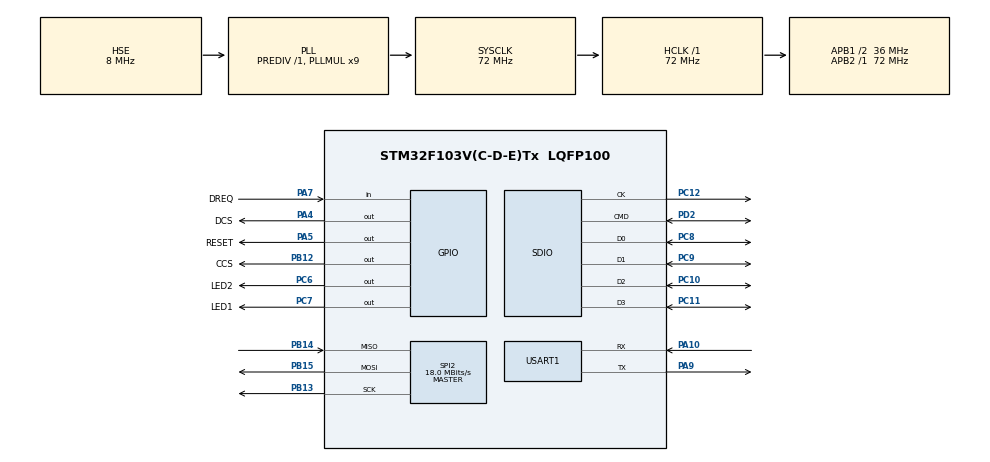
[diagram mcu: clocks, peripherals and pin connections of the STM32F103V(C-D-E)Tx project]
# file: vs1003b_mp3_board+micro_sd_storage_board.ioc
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FATFS._CODE_PAGE=437
FATFS._MAX_SS=4096
FATFS._USE_LFN=2
Mcu.Family=STM32F1
Mcu.Name=STM32F103V(C-D-E)Tx
Mcu.Package=LQFP100
NVIC.PriorityGroup=NVIC_PRIORITYGROUP_4
NVIC.SDIO_IRQn=true\:0\:0\:false\:false\:true\:true
OSC_IN.Mode=HSE-External-Oscillator
OSC_IN.Signal=RCC_OSC_IN
OSC_OUT.Mode=HSE-External-Oscillator
OSC_OUT.Signal=RCC_OSC_OUT
PA10.Mode=Asynchronous
PA10.Signal=USART1_RX
PA4.GPIO_Label=DCS
PA4.GPIO_Speed=GPIO_SPEED_FREQ_HIGH
PA4.Signal=GPIO_Output
PA5.GPIO_Label=RESET
PA5.GPIO_PuPd=GPIO_NOPULL
PA5.GPIO_Speed=GPIO_SPEED_FREQ_HIGH
PA5.PinState=GPIO_PIN_RESET
PA5.Signal=GPIO_Output
PA7.GPIO_Label=DREQ
PA7.Signal=GPIO_Input
PA9.Mode=Asynchronous
PA9.Signal=USART1_TX
PB12.GPIO_Label=CCS
PB12.GPIO_Speed=GPIO_SPEED_FREQ_HIGH
PB12.Signal=GPIO_Output
PB13.Mode=Full_Duplex_Master
PB13.Signal=SPI2_SCK
PB14.Mode=Full_Duplex_Master
PB14.Signal=SPI2_MISO
PB15.Mode=Full_Duplex_Master
PB15.Signal=SPI2_MOSI
PC10.Mode=SD_4_bits_Wide_bus
PC10.Signal=SDIO_D2
PC11.Mode=SD_4_bits_Wide_bus
PC11.Signal=SDIO_D3
PC12.Mode=SD_4_bits_Wide_bus
PC12.Signal=SDIO_CK
PC6.GPIO_Label=LED2
PC6.Signal=GPIO_Output
PC7.GPIO_Label=LED1
PC7.Signal=GPIO_Output
PC8.Mode=SD_4_bits_Wide_bus
PC8.Signal=SDIO_D0
PC9.Mode=SD_4_bits_Wide_bus
PC9.Signal=SDIO_D1
PD2.Mode=SD_4_bits_Wide_bus
PD2.Signal=SDIO_CMD
ProjectManager.HeapSize=0x200
ProjectManager.StackSize=0x400
ProjectManager.TargetToolchain=MDK-ARM V5
RCC.AHBFreq_Value=72000000
RCC.APB1CLKDivider=RCC_HCLK_DIV2
RCC.APB1Freq_Value=36000000
RCC.APB1TimFreq_Value=72000000
RCC.APB2Freq_Value=72000000
RCC.APB2TimFreq_Value=72000000
RCC.HCLKFreq_Value=72000000
RCC.PLLMUL=RCC_PLL_MUL9
RCC.PLLSourceVirtual=RCC_PLLSOURCE_HSE
RCC.SYSCLKFreq_VALUE=72000000
RCC.SYSCLKSource=RCC_SYSCLKSOURCE_PLLCLK
RCC.USBFreq_Value=72000000
SDIO.ClockDiv=2
SPI2.BaudRatePrescaler=SPI_BAUDRATEPRESCALER_2
SPI2.CLKPhase=SPI_PHASE_2EDGE
SPI2.CLKPolarity=SPI_POLARITY_HIGH
SPI2.CRCCalculation=SPI_CRCCALCULATION_DISABLE
SPI2.CalculateBaudRate=18.0 MBits/s
SPI2.Direction=SPI_DIRECTION_2LINES
SPI2.Mode=SPI_MODE_MASTER
SPI2.VirtualType=VM_MASTER
USART1.VirtualMode=VM_ASYNC
VP_FATFS_VS_SDIO.Mode=SDIO
VP_SYS_VS_ND.Mode=No_Debug
board=custom

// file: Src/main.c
/**
  ******************************************************************************
  * @file           : main.c
  * @brief          : Main program body
  ******************************************************************************
  * This notice applies to any and all portions of this file
  * that are not between comment pairs USER CODE BEGIN and
  * USER CODE END. Other portions of this file, whether
  * inserted by the user or by software development tools
  * are owned by their respective copyright owners.
  *
  * Copyright (c) 2018 STMicroelectronics International N.V.
  * All rights reserved.
  *
  * Redistribution and use in source and binary forms, with or without
  * modification, are permitted, provided that the following conditions are met:
  *
  * 1. Redistribution of source code must retain the above copyright notice,
  *    this list of conditions and the following disclaimer.
  * 2. Redistributions in binary form must reproduce the above copyright notice,
  *    this list of conditions and the following disclaimer in the documentation
  *    and/or other materials provided with the distribution.
  * 3. Neither the name of STMicroelectronics nor the names of other
  *    contributors to this software may be used to endorse or promote products
  *    derived from this software without specific written permission.
  * 4. This software, including modifications and/or derivative works of this
  *    software, must execute solely and exclusively on microcontroller or
  *    microprocessor devices manufactured by or for STMicroelectronics.
  * 5. Redistribution and use of this software other than as permitted under
  *    this license is void and will automatically terminate your rights under
  *    this license.
  *
  * THIS SOFTWARE IS PROVIDED BY STMICROELECTRONICS AND CONTRIBUTORS "AS IS"
  * AND ANY EXPRESS, IMPLIED OR STATUTORY WARRANTIES, INCLUDING, BUT NOT
  * LIMITED TO, THE IMPLIED WARRANTIES OF MERCHANTABILITY, FITNESS FOR A
  * PARTICULAR PURPOSE AND NON-INFRINGEMENT OF THIRD PARTY INTELLECTUAL PROPERTY
  * RIGHTS ARE DISCLAIMED TO THE FULLEST EXTENT PERMITTED BY LAW. IN NO EVENT
  * SHALL STMICROELECTRONICS OR CONTRIBUTORS BE LIABLE FOR ANY DIRECT, INDIRECT,
  * INCIDENTAL, SPECIAL, EXEMPLARY, OR CONSEQUENTIAL DAMAGES (INCLUDING, BUT NOT
  * LIMITED TO, PROCUREMENT OF SUBSTITUTE GOODS OR SERVICES; LOSS OF USE, DATA,
  * OR PROFITS; OR BUSINESS INTERRUPTION) HOWEVER CAUSED AND ON ANY THEORY OF
  * LIABILITY, WHETHER IN CONTRACT, STRICT LIABILITY, OR TORT (INCLUDING
  * NEGLIGENCE OR OTHERWISE) ARISING IN ANY WAY OUT OF THE USE OF THIS SOFTWARE,
  * EVEN IF ADVISED OF THE POSSIBILITY OF SUCH DAMAGE.
  *
  ******************************************************************************
  */
#include "main.h"
#include "stm32f1xx_hal.h"
#include "fatfs.h"
#include "sdio.h"
#include "spi.h"
#include "usart.h"
#include "gpio.h"

/* USER CODE BEGIN Includes */
#include <string.h>
#include <stdlib.h>

#include "vs1003.h"
#include "player.h"
/* USER CODE END Includes */

/* USER CODE BEGIN PV */
/* Private variables ---------------------------------------------------------*/
FATFS SDFatFs;  /* File system object for SD card logical drive */
FIL MyFile;     /* File object */
extern char SDPath[4]; /* SD card logical drive path */

#define GPIO_TEST 0
#define LINE_OUT_TEST 0
#define LINE_IN_TEST 0
#define MIC_IN_TEST 1

/* USER CODE END PV */

void SystemClock_Config(void);

/* USER CODE BEGIN PFP */
/* Private function prototypes -----------------------------------------------*/

/* USER CODE END PFP */

/* USER CODE BEGIN 0 */

FRESULT mountSDIO(void)
{
	return f_mount(&SDFatFs, (TCHAR const*)SDPath, 0);
}

FRESULT unMountSDIO(void)
{
	return f_mount(NULL, "", 0);
}

uint8_t linkFATFS(void)
{
	return FATFS_LinkDriver(&SD_Driver, SDPath);
}

uint8_t unLinkFATFS(void)
{
	return FATFS_UnLinkDriver(SDPath);
}

void FatFsTest(void)
{
  FRESULT res;                                          /* FatFs function common result code */
  uint32_t byteswritten, bytesread;                     /* File write/read counts */
	uint8_t wtext[] = "This is STM32 working with FatFs"; /* File write buffer */
  uint8_t rtext[100];                     /* File read buffers */
	char filename[] = "STM32cube.txt";

	printf("\r\n ****** FatFs Example ******\r\n\r\n");

  /*##-1- Link the micro SD disk I/O driver ##################################*/
  if(1)//(linkFATFS() == 0)
  {
    /*##-2- Register the file system object to the FatFs module ##############*/
		//printf(" f_mount \r\n");
    if(0)//((res = mountSDIO()) != FR_OK)
    {
      /* FatFs Initialization Error */
			printf(" mount error : %d \r\n",res);
      Error_Handler();
    }
    else
    {
      /*##-3- Create a FAT file system (format) on the logical drive #########*/
      /* WARNING: Formatting the uSD card will delete all content on the device */
			printf(" f_mkfs skip\r\n");
      if(0)//((res = f_mkfs((TCHAR const*)SDPath, 0, 0)) != FR_OK)
      {
        /* FatFs Format Error */
				printf(" mkfs error : %d \r\n",res);
        Error_Handler();
      }
      else
      {
        /*##-4- Create and Open a new text file object with write access #####*/
				printf(" f_open \r\n");
        if((res = f_open(&MyFile, filename, FA_CREATE_ALWAYS | FA_WRITE)) != FR_OK)
        {
          /* 'STM32.TXT' file Open for write Error */
					printf(" open error : %d \r\n",res);
          Error_Handler();
        }
        else
        {
          /*##-5- Write data to the text file ################################*/
					printf(" f_write \r\n");
          if ((res = f_write(&MyFile, wtext, sizeof(wtext), (void *)&byteswritten)) != FR_OK)
					{
						printf(" write error : %d \r\n",res);
						Error_Handler();
					}

          /*##-6- Close the open text file #################################*/
					printf(" f_close \r\n");
          if ((res = f_close(&MyFile)) != FR_OK )
          {
						printf(" close error : %d \r\n",res);
            Error_Handler();
          }

          if(byteswritten == 0)
          {
            /* 'STM32.TXT' file Write or EOF Error */
						printf(" byteswritten = 0 \r\n");
            Error_Handler();
          }
          else
          {
            /*##-7- Open the text file object with read access ###############*/
						printf(" f_open \r\n");
            if((res = f_open(&MyFile, filename, FA_READ)) != FR_OK)
            {
              /* 'STM32.TXT' file Open for read Error */
							printf(" open error : %d \r\n", res);
              Error_Handler();
            }
            else
            {
              /*##-8- Read data from the text file ###########################*/
							printf(" f_read \r\n");
              res = f_read(&MyFile, rtext, sizeof(rtext), (UINT*)&bytesread);

              if((bytesread == 0) || (res != FR_OK))
              {
                /* 'STM32.TXT' file Read or EOF Error */
								printf(" read error : %d \r\n", res);
                Error_Handler();
              }
              else
              {
                /*##-9- Close the open text file #############################*/
								printf(" f_close \r\n");
								if ((res = f_close(&MyFile)) != FR_OK )
								{
									printf(" close error : %d \r\n",res);
									Error_Handler();
								}

                /*##-10- Compare read data with the expected data ############*/
                if((bytesread != byteswritten))
                {
                  /* Read data is different from the expected data */
									printf(" read data wrong : ? \r\n");
                  Error_Handler();
                }
                else
                {
                  /* Success of the demo: no error occurrence */
                  printf(" Good!!! \r\n");
									HAL_GPIO_WritePin(GPIOC, GPIO_PIN_7, GPIO_PIN_RESET);
									HAL_Delay(500);
									HAL_GPIO_WritePin(GPIOC, GPIO_PIN_7, GPIO_PIN_SET);
                }
              }
            }
          }
        }
      }
    }
  }

	//printf(" unmount \r\n");
	if(0)//((res = unMountSDIO()) != FR_OK )
	{
		printf(" unmount error : %d \r\n",res);
		Error_Handler();
	}

  /*##-11- Unlink the RAM disk I/O driver ####################################*/
  //unLinkFATFS();
}

uint32_t gFileTotalCount = 0;
uint32_t gFileTotalSize = 0;
typedef struct tagFileLinkedList
{
	char fullFileName[128];	// dir + file
	char fileName[128];
	uint32_t fileSize;
	uint8_t isAudio;
} FileLinkedList;

FileLinkedList gFileList[128] = {0, };

void sort_files()
{
	int i, j;
	//FileLinkedList tmp = {0,};
	char tmpFullFileName[128];	// dir + file
	char tmpFileName[128];
	uint32_t tmpFileSize;
	uint8_t tmpIsAudio;

	for(i=0; i<gFileTotalCount-1; i++)
  {
		for (j=i+1; j<gFileTotalCount; j++)
		{
			if (strcmp(gFileList[i].fileName, gFileList[j].fileName) > 0)
			{
				//memcpy((void *)&tmp, (const void*)&gFileList[i], sizeof(FileLinkedList));
				//memcpy((void *)&gFileList[i], (const void*)&gFileList[j], sizeof(FileLinkedList));
				//memcpy((void *)&gFileList[j], (const void*)&tmp, sizeof(FileLinkedList));

				strcpy((char *)&tmpFullFileName, (const char*)&gFileList[i].fullFileName);
				strcpy((char *)&gFileList[i].fullFileName, (const char*)&gFileList[j].fullFileName);
				strcpy((char *)&gFileList[j].fullFileName, (const char*)&tmpFullFileName);

				strcpy((char *)&tmpFileName, (const char*)&gFileList[i].fileName);
				strcpy((char *)&gFileList[i].fileName, (const char*)&gFileList[j].fileName);
				strcpy((char *)&gFileList[j].fileName, (const char*)&tmpFileName);

				tmpFileSize = gFileList[i].fileSize;
				gFileList[i].fileSize = gFileList[j].fileSize;
				gFileList[j].fileSize = tmpFileSize;

				tmpIsAudio = gFileList[i].isAudio;
				gFileList[i].isAudio = gFileList[j].isAudio;
				gFileList[j].isAudio = tmpIsAudio;
			}
		}
  }

	printf("\r\n Start Check Array\r\n");
	for(i=0; i<gFileTotalCount; i++)
	{
		printf(" [%d] file: %s[%d byte][%d]\r\n", i, gFileList[i].fileName, gFileList[i].fileSize, gFileList[i].isAudio);
	}
	printf(" totalSize: %d\r\n", gFileTotalSize);
	printf(" End Check Array\r\n\r\n");
}

FRESULT print_files (char* path)
{
	FRESULT res;
	FILINFO fno;
	DIR dir;
	int i;
	char *fn;
#if _USE_LFN
	static char lfn[_MAX_LFN+1];
	fno.lfname = lfn;
	fno.lfsize = sizeof(lfn);
#endif

	res = f_opendir(&dir, path);
	if (res == FR_OK) {

		for (;;) {
			res = f_readdir(&dir, &fno);
			if (res != FR_OK || fno.fname[0] == 0)
				break;
#if _USE_LFN
			fn = *fno.lfname ? fno.lfname : fno.fname;
#else
			fn = fno.fname;
#endif
			if (fno.fattrib & AM_DIR)
			{
				char dirname[_MAX_LFN+1];

				if(fn[0]!='.')
				{
					i = strlen(path);

					//printf(" dir:  [%s/%s][attr:0x%x]\r\n", path, fn, fno.fattrib);

					sprintf(dirname, "%s/%s", path, fn);
					res = print_files(dirname);
					if (res != FR_OK)
						break;

					path[i] = 0;
				}
			}
			else
			{
				sprintf(gFileList[gFileTotalCount].fullFileName, "%s/%s", path, fn);
				strcpy(gFileList[gFileTotalCount].fileName, fn);
				gFileList[gFileTotalCount].fileSize = fno.fsize;
				gFileTotalSize += fno.fsize;

				char seps[] = ".";
				char *tr;
				tr = strtok((char *)fn, (const char *)seps);
				//printf("  %s ", tr);
				tr = strtok(NULL, (const char *)seps);
				//printf("%s ", tr);
				if (strcmp(tr, "mp3") == 0)
				{
					gFileList[gFileTotalCount].isAudio = 1;
				}
				else
				{
					gFileList[gFileTotalCount].isAudio = 0;
				}

				/*printf(" file: [%s/%s] [%ld byte] [attr: 0x%x][audio: %d]\r\n",
					gFileList[gFileTotalCount].fullFileName,
					gFileList[gFileTotalCount].fileName,
					gFileList[gFileTotalCount].fileSize,
					fno.fattrib,
					gFileList[gFileTotalCount].isAudio);*/

				gFileTotalCount += 1;
			}
		}

		f_closedir(&dir);
	}
	else
	{
		printf(" path(%s) not found\r\n", path);
	}
	return res;
}

uint8_t fileData[10240];
uint32_t fileSize;

void getFileDataFromSDCard(char *filename)
{
	FRESULT res;
  uint32_t bytesread;
	//char filename[] = "migyo_rainsound_mono_8kbps.mp3";

	//printf(" f_mount \r\n");
	if(0)//((res = mountSDIO()) != FR_OK)
	{
		printf(" mount error : %d \r\n",res);
		Error_Handler();
	}
	else
	{
		printf(" f_open \r\n");
		if((res = f_open(&MyFile, filename, FA_READ)) != FR_OK)
		{
			printf(" open error : %d \r\n",res);
			Error_Handler();
		}
		else
		{
			fileSize = f_size(&MyFile);
			printf(" filesize: %d \r\n", fileSize);

			printf(" f_read \r\n");
			res = f_read(&MyFile, fileData, sizeof(fileData), (UINT*)&bytesread);

			printf(" f_close \r\n");
			if ((res = f_close(&MyFile)) != FR_OK )
			{
				printf(" close error : %d \r\n",res);
				Error_Handler();
			}
			printf(" Done \r\n");
		}
	}

	//printf(" unmount \r\n");
	if(0)//((res = unMountSDIO()) != FR_OK )
	{
		printf(" unmount error : %d \r\n",res);
		Error_Handler();
	}

  //FATFS_UnLinkDriver(SDPath);
}
/* USER CODE END 0 */

int main(void)
{

  /* MCU Configuration----------------------------------------------------------*/

  /* Reset of all peripherals, Initializes the Flash interface and the Systick. */
  HAL_Init();

  /* Configure the system clock */
  SystemClock_Config();

  /* Initialize all configured peripherals */
  MX_GPIO_Init();
  MX_SPI2_Init();
  MX_USART1_UART_Init();
  MX_SDIO_SD_Init();
  MX_FATFS_Init();
  /* USER CODE BEGIN 2 */
	LED1_CTRL(GPIO_HIGH);

	FRESULT res;
	printf(" f_mount \r\n");
	if((res = mountSDIO()) != FR_OK)
	{
		/* FatFs Initialization Error */
		printf(" mount error : %d \r\n",res);
		Error_Handler();
	}

#if LINE_OUT_TEST
	//FatFsTest();
	//getFileListFromSDCard();

	char buff[128];
  strcpy(buff, "/");
	printf("\r\n Start print_files \r\n");
	print_files(buff);
	printf(" End print_files \r\n\r\n");

	sort_files();

	//printf(" unmount \r\n");
	//if ((res = unMountSDIO()) != FR_OK )
	//{
	//	printf(" unmount error : %d \r\n",res);
	//	Error_Handler();
	//}
#endif

	printf("\r\nProgram Start\r\n");

#if MIC_IN_TEST
	playrec_test();
	while(1)
	{
		LED1_CTRL(GPIO_TOGGLE);

		HAL_Delay(1000);
	}
#endif

  VS1003_Init();
  VS1003_SoftReset();

  /* Check VS10xx type */
  printf("Chip is VS %d\r\n", ((VS1003_ReadReg(SPI_STATUS) >> 4) & 0xF));

#if GPIO_TEST
	VS1003_WriteReg(SPI_WRAMADDR, 0xc017);
	VS1003_WriteReg(SPI_WRAM, 0x000f);
#endif
#if LINE_IN_TEST
	VS1003_LineIn_Init();
#endif
  /* USER CODE END 2 */

  /* Infinite loop */
  /* USER CODE BEGIN WHILE */
	int32_t idx = 0;
  while (1)
  {
		LED1_CTRL(GPIO_TOGGLE);
  /* USER CODE END WHILE */

  /* USER CODE BEGIN 3 */
#if LINE_OUT_TEST
		//VS1003_SineTest();
		//VS1003_PlayBeep();

		//printf("idx: %d, gFileTotalCount: %d\r\n", idx, gFileTotalCount);
		if (idx >= gFileTotalCount - 1)
			idx = 0;
		else
			idx += 1;

		if (gFileList[idx].isAudio)
		{
			printf("Playing: %s\r\n", gFileList[idx].fileName);

			getFileDataFromSDCard(gFileList[idx].fileName);

			VS1003_PlayFromSDCard();
			HAL_Delay(1000);
		}

#endif

#if GPIO_TEST
		VS1003_WriteReg(SPI_WRAMADDR, 0xc019);
		VS1003_WriteReg(SPI_WRAM, 0x000f);
		HAL_Delay(500);

		VS1003_WriteReg(SPI_WRAMADDR, 0xc019);
		VS1003_WriteReg(SPI_WRAM, 0x0000);
		HAL_Delay(500);
#endif
  }
  /* USER CODE END 3 */

}

void SystemClock_Config(void)
{

  RCC_OscInitTypeDef RCC_OscInitStruct;
  RCC_ClkInitTypeDef RCC_ClkInitStruct;

    /**Initializes the CPU, AHB and APB busses clocks
    */
  RCC_OscInitStruct.OscillatorType = RCC_OSCILLATORTYPE_HSE;
  RCC_OscInitStruct.HSEState = RCC_HSE_ON;
  RCC_OscInitStruct.HSEPredivValue = RCC_HSE_PREDIV_DIV1;
  RCC_OscInitStruct.HSIState = RCC_HSI_ON;
  RCC_OscInitStruct.PLL.PLLState = RCC_PLL_ON;
  RCC_OscInitStruct.PLL.PLLSource = RCC_PLLSOURCE_HSE;
  RCC_OscInitStruct.PLL.PLLMUL = RCC_PLL_MUL9;
  if (HAL_RCC_OscConfig(&RCC_OscInitStruct) != HAL_OK)
  {
    _Error_Handler(__FILE__, __LINE__);
  }

    /**Initializes the CPU, AHB and APB busses clocks
    */
  RCC_ClkInitStruct.ClockType = RCC_CLOCKTYPE_HCLK|RCC_CLOCKTYPE_SYSCLK
                              |RCC_CLOCKTYPE_PCLK1|RCC_CLOCKTYPE_PCLK2;
  RCC_ClkInitStruct.SYSCLKSource = RCC_SYSCLKSOURCE_PLLCLK;
  RCC_ClkInitStruct.AHBCLKDivider = RCC_SYSCLK_DIV1;
  RCC_ClkInitStruct.APB1CLKDivider = RCC_HCLK_DIV2;
  RCC_ClkInitStruct.APB2CLKDivider = RCC_HCLK_DIV1;

  if (HAL_RCC_ClockConfig(&RCC_ClkInitStruct, FLASH_LATENCY_2) != HAL_OK)
  {
    _Error_Handler(__FILE__, __LINE__);
  }

    /**Configure the Systick interrupt time
    */
  HAL_SYSTICK_Config(HAL_RCC_GetHCLKFreq()/1000);

    /**Configure the Systick
    */
  HAL_SYSTICK_CLKSourceConfig(SYSTICK_CLKSOURCE_HCLK);

  /* SysTick_IRQn interrupt configuration */
  HAL_NVIC_SetPriority(SysTick_IRQn, 0, 0);
}

/* USER CODE BEGIN 4 */
void HAL_SD_ErrorCallback(SD_HandleTypeDef *hsd)
{
	printf("HAL_SD_ErrorCallback ErrorCode : 0x%x\r\n", hsd->ErrorCode);

  while(1)
  {
		  LED2_CTRL(GPIO_TOGGLE);
			HAL_Delay(500);
  }
}
/* USER CODE END 4 */

void _Error_Handler(char *file, int line)
{
  /* USER CODE BEGIN Error_Handler_Debug */
  /* User can add his own implementation to report the HAL error return state */
	printf("_Error_Handler : file[%s], line[%d]\r\n", file, line);
  while(1)
  {
		  LED2_CTRL(GPIO_TOGGLE);
			HAL_Delay(500);
  }
  /* USER CODE END Error_Handler_Debug */
}

/************************ (C) COPYRIGHT STMicroelectronics *****END OF FILE****/
